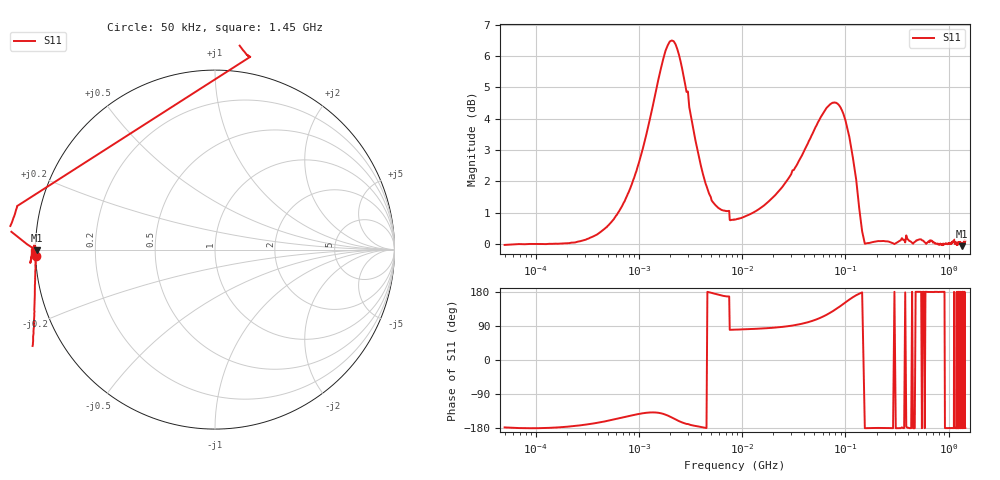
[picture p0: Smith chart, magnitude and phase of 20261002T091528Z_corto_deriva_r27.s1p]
! piloto_deriva / corto_deriva / r27
# HZ S RI R 50
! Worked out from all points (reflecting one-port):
!   501 points, 50 kHz to 1.45 GHz, reference 50 ohm
!   lowest |S11| = -0.1 dB at 1.351 GHz (marker M1), VSWR 237.23, Z = 0.211 - j0.0928 ohm
!   phase of S11 starts at -178 deg and turns -2 deg over the sweep
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50000  -0.9954 -0.0373
183000  -1 -0.0518
373000  -1.004 -0.2332
658000  -1.013 -0.5103
1180000  -1.134 -0.9762
1630000  -1.471 -1.212
1990000  -1.808 -1.081
2170000  -1.9 -0.9135
2440000  -1.9 -0.6445
3250000  -1.557 -0.2149
4330000  -1.264 -0.0312
7300000  -1.102 0.2416
7750000  0.1949 1.075
8560000  0.1871 1.078
1.99e7  0.1013 1.183
3.16e7  -0.0346 1.312
4.69e7  -0.3246 1.454
6.76e7  -0.8597 1.417
7.93e7  -1.139 1.237
9.37e7  -1.356 0.9002
9.82e7  -1.384 0.7831
1e8  -1.391 0.7387
1.18e8  -1.33 0.3387
1.36e8  -1.134 0.0993
1.63e8  -1.003 -0.00397
4.06e8  -1.015 -0.0223
1.351e9  -0.9916 -0.00368
1.45e9  -1.011 -0.0109
